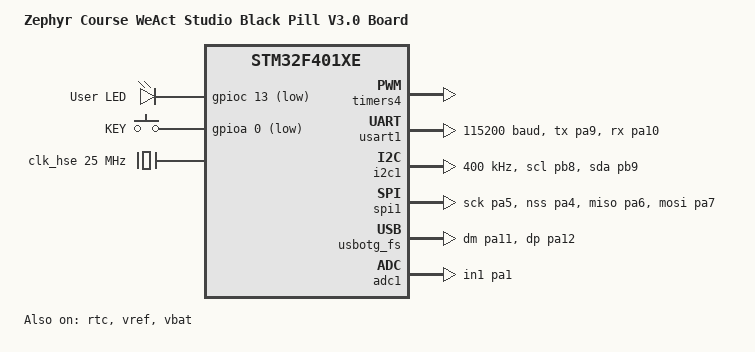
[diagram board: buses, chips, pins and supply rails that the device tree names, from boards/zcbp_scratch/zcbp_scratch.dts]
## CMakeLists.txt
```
cmake_minimum_required(VERSION 3.20.0)

list(APPEND BOARD_ROOT ${CMAKE_CURRENT_SOURCE_DIR}) 
find_package(Zephyr REQUIRED)
project(my_zephyr_app)

target_sources(app PRIVATE src/main.cpp)

target_include_directories(app PRIVATE
    ${CMAKE_CURRENT_SOURCE_DIR}/drivers/gr_sensor
)
add_subdirectory(drivers/gr_sensor)
```

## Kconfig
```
menu "Application config"

    config APP_HEARTBEAT_PERIOD_MS 
        int "Application heartbeat period in ms (100 - 2000)"
        range 100 2000
        default 500

endmenu

menuconfig LED_SUBSYSTEM
    bool "LED Subsystem"
    default y

if LED_SUBSYSTEM

    choice

        prompt "LED blink sleep time"
        default BLINK_SLEEP_1000MS

        config BLINK_SLEEP_250MS
            bool "Fast (250ms)"

        config BLINK_SLEEP_1000MS
            bool "Medium (1s)"

        config BLINK_SLEEP_2000MS
            bool "Slow (2s)"

    endchoice

    config BLINK_SLEEP_TIME_MS
        int
        default 250 if BLINK_SLEEP_250MS
        default 1000 if BLINK_SLEEP_1000MS
        default 2000 if BLINK_SLEEP_2000MS
        default 0

    menuconfig ADVANCED_LED_SETTINGS
        bool "Advanced LED settings"
        default false

    if ADVANCED_LED_SETTINGS

        config LED_BRIGHTNESS
            int "LED brightness (0-100)"
            range 0 100
            default 100

        config LED_FADE
            int "LED fade duration (ms)"
            range 0 5000
            default 500

        menu "Expert settings"
            visible if ADVANCED_LED_SETTINGS

            config LED_DEBUG
                bool "Enable LED debugging"
                default false

            config CUSTOM_BLINK
                bool "Custom blink pattern"
                default false

        endmenu

    endif #ADVANCED_LED_SETTINGS

endif #LED_SUBSYSTEM

source "Kconfig.zephyr"
rsource "drivers/gr_sensor/Kconfig"
```

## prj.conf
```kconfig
CONFIG_GPIO=y
CONFIG_LOG=y
CONFIG_GR_SENSOR=y
CONFIG_SHELL=y
```

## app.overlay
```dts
/ {
	aliases {
		app-led = &user_led;
	};

	gr_sensor0: gr_sensor {
		compatible = "gr,sensor";
		status = "okay";
	};
};
```

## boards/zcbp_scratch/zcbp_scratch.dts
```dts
/*
 * Copyright (c) 2020 Kalyan Sriram <coder.kalyan@gmail.com>
 *
 * SPDX-License-Identifier: Apache-2.0
 */

/dts-v1/;
#include <st/f4/stm32f401Xe.dtsi>
#include <st/f4/stm32f401c(d-e)ux-pinctrl.dtsi>
#include <zephyr/dt-bindings/input/input-event-codes.h>

/ {
	model = "Zephyr Course WeAct Studio Black Pill V3.0 Board";
	compatible = "iomico,zcbp,weact,blackpill-f401ce";

	chosen {
		zephyr,console = &usart1;
		zephyr,shell-uart = &usart1;
		zephyr,sram = &sram0;
		zephyr,flash = &flash0;
	};

	leds {
		compatible = "gpio-leds";

		user_led: led {
			gpios = <&gpioc 13 GPIO_ACTIVE_LOW>;
			label = "User LED";
		};
	};

	gpio_keys {
		compatible = "gpio-keys";

		user_button: button {
			label = "KEY";
			gpios = <&gpioa 0 (GPIO_ACTIVE_LOW | GPIO_PULL_UP)>;
			zephyr,code = <INPUT_KEY_0>;
		};
	};

	aliases {
		led0 = &user_led;
		sw0 = &user_button;
		volt-sensor0 = &vref;
		volt-sensor1 = &vbat;
	};
};

&flash0 {
	partitions {
		ranges;
		#address-cells = <1>;
		#size-cells = <1>;

		boot_partition: partition@0 {
			compatible = "zephyr,mapped-partition";
			label = "mcuboot";
			reg = <0x00000000 DT_SIZE_K(32)>;
			read-only;
		};

		/*
		 * The flash starting at offset 0x00008000 and ending at
		 * offset 0x0001ffff (sectors 2 through 4) is reserved for
		 * use by the application.
		 */

		slot0_partition: partition@20000 {
			compatible = "zephyr,mapped-partition";
			label = "image-0";
			reg = <0x00020000 DT_SIZE_K(128)>;
		};

		slot1_partition: partition@40000 {
			compatible = "zephyr,mapped-partition";
			label = "image-1";
			reg = <0x00040000 DT_SIZE_K(128)>;
		};

		scratch_partition: partition@60000 {
			compatible = "zephyr,mapped-partition";
			label = "image-scratch";
			reg = <0x00060000 DT_SIZE_K(128)>;
		};
	};
};

&timers4 {
	status = "okay";

	pwm4: pwm {
		status = "okay";
		pinctrl-0 = <&tim4_ch1_pb6 &tim4_ch2_pb7>;
		pinctrl-names = "default";
	};
};

&usart1 {
	pinctrl-0 = <&usart1_tx_pa9 &usart1_rx_pa10>;
	pinctrl-names = "default";
	status = "okay";
	current-speed = <115200>;
};

&i2c1 {
	pinctrl-0 = <&i2c1_scl_pb8 &i2c1_sda_pb9>;
	pinctrl-names = "default";
	scl-gpios = <&gpiob 8 GPIO_ACTIVE_HIGH>;
	sda-gpios = <&gpiob 9 GPIO_ACTIVE_HIGH>;
	status = "okay";
	clock-frequency = <I2C_BITRATE_FAST>;
};

&spi1 {
	pinctrl-0 = <&spi1_sck_pa5 &spi1_nss_pa4
		     &spi1_miso_pa6 &spi1_mosi_pa7>;
	pinctrl-names = "default";
	status = "okay";
};

&rtc {
	clocks = <&rcc STM32_CLOCK(APB1, 28)>,
		 <&rcc STM32_SRC_LSI RTC_SEL(2)>;
	status = "okay";
};

zephyr_udc0: &usbotg_fs {
	pinctrl-0 = <&usb_otg_fs_dm_pa11 &usb_otg_fs_dp_pa12>;
	pinctrl-names = "default";
	status = "okay";
};

&adc1 {
	pinctrl-0 = <&adc1_in1_pa1>;
	pinctrl-names = "default";
	st,adc-clock-source = "SYNC";
	st,adc-prescaler = <2>;
	status = "okay";
};

&clk_lsi {
	status = "okay";
};

&clk_hse {
	clock-frequency = <DT_FREQ_M(25)>;
	status = "okay";
};

&pll {
	div-m = <25>;
	mul-n = <336>;
	div-p = <4>;
	div-q = <7>;
	clocks = <&clk_hse>;
	status = "okay";
};

&rcc {
	clocks = <&pll>;
	clock-frequency = <DT_FREQ_M(84)>;
	ahb-prescaler = <1>;
	apb1-prescaler = <2>;
	apb2-prescaler = <1>;
};

&vref {
	status = "okay";
};

&vbat {
	status = "okay";
};
```

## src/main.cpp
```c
#include <zephyr/drivers/gpio.h>
#include <zephyr/drivers/sensor.h>
#include <zephyr/kernel.h>
#include <zephyr/logging/log.h>

#include "gr_sensor.h"

#ifndef CONFIG_GR_SENSOR
/* The devicetree node identifier for the "user_led" alias. Modified by app.overlay */
#define LED_NODE DT_ALIAS(app_led)
static const struct gpio_dt_spec led = GPIO_DT_SPEC_GET(LED_NODE, gpios);
#endif

#ifdef CONFIG_GR_SENSOR
static const struct device * gr_sensor = DEVICE_DT_GET(DT_NODELABEL(gr_sensor0));
#endif

LOG_MODULE_REGISTER(main, LOG_LEVEL_INF);

int main(void)
{
#ifndef CONFIG_GR_SENSOR
    bool led_state = true;

    if (!gpio_is_ready_dt(&led)) return 0;

    if (gpio_pin_configure_dt(&led, GPIO_OUTPUT_ACTIVE) < 0) return 0;

    while (1) {
        if (gpio_pin_toggle_dt(&led) < 0) return 0;

        led_state = !led_state;
        LOG_INF("LED state: %s", led_state ? "ON" : "OFF");
        k_msleep(CONFIG_APP_HEARTBEAT_PERIOD_MS);
    }
#else
    bool state = true;
    uint32_t counter = 1;
    while (1) {
        struct sensor_value val;
        if(state) {
            auto ret = sensor_channel_get(gr_sensor, SENSOR_CHAN_AMBIENT_TEMP, &val);
        } else {
            auto ret = sensor_sample_fetch(gr_sensor);
        }
        state = !state;
        k_msleep(CONFIG_APP_HEARTBEAT_PERIOD_MS);
    }
#endif
    return 0;
}
```
